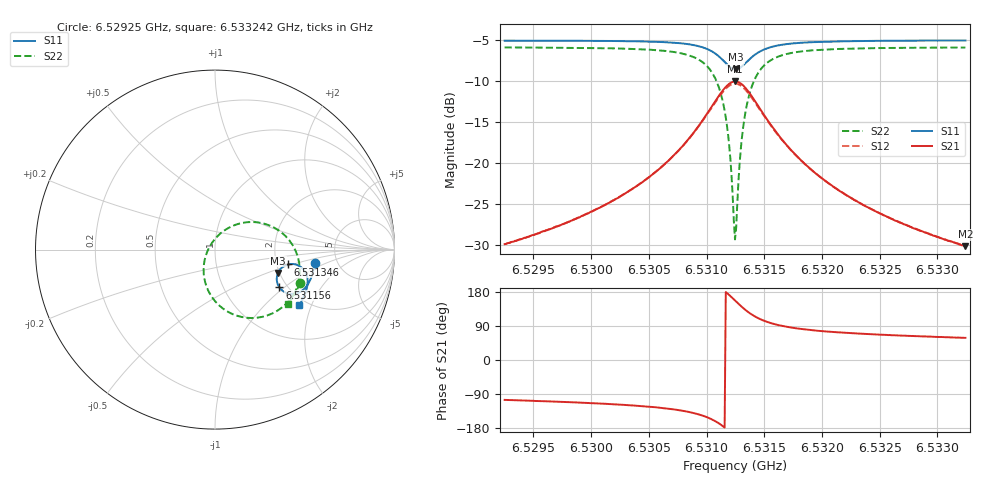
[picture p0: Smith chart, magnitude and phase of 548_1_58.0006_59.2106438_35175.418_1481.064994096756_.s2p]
#  HZ  S  RI  R  50.00
! Rohde & Schwarz Vector Network Analyzer
! Rohde-Schwarz,ZNB20-2Port,1311601062101988,3.16
! Created: UTC 3/21/2024, 1:14:52 AM
! freq[Hz]  re:S11  im:S11  re:S21  im:S21  re:S12  im:S12  re:S22  im:S22
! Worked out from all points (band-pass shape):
!   401 points, 6.52925 GHz to 6.533242 GHz, reference 50 ohm
!   highest |S21| = -10.01 dB at 6.531246 GHz (marker M1); lowest = -30.1 dB at 6.533242 GHz (marker M2)
!   |S21| within 3 dB of the highest: 6.531048 GHz to 6.531447 GHz (399.2 kHz wide, 0.00611 % of centre)
!   lowest |S11| = -8.5 dB at 6.531256 GHz (marker M3), VSWR 2.20, Z = 98.2 - j29.6 ohm
!   |S11| at or under -10 dB: nowhere
!   |S22| runs from -29.3 to -5.9 dB; largest |S21 - S12| = 0.013
!   S11 on the Smith chart (normalised r, x): 6.52925 GHz: 3.37, -0.75; 6.531156 GHz: 1.82, -0.93; 6.531346 GHz: 2.30, -0.46; 6.533242 GHz: 1.82, -1.64
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6.5292499e9  0.5555 -0.0767  -0.00844 -0.0309  -0.00905 -0.0307  0.4752 -0.1843
6.5299186e9  0.5437 -0.1325  -0.0184 -0.044  -0.0194 -0.0434  0.4426 -0.2462
6.5302779e9  0.5319 -0.1661  -0.0305 -0.0566  -0.032 -0.0558  0.4105 -0.2878
6.5305873e9  0.5136 -0.1996  -0.0537 -0.0747  -0.0558 -0.0732  0.3581 -0.3336
6.5308168e9  0.4854 -0.2288  -0.0948 -0.0937  -0.0976 -0.0905  0.2752 -0.3718
6.5309865e9  0.4402 -0.2468  -0.1648 -0.099  -0.167 -0.0922  0.1468 -0.3749
6.5310863e9  0.3942 -0.24  -0.2357 -0.0704  -0.2344 -0.0604  0.0281 -0.3152
6.5311561e9  0.3589 -0.2107  -0.2871 -0.00924  -0.2807 0.000755  -0.0478 -0.204
6.531196e9  0.3462 -0.1815  -0.3025 0.0453  -0.2929 0.0532  -0.0635 -0.1109
6.531226e9  0.3446 -0.1556  -0.3002 0.092  -0.2891 0.0972  -0.0518 -0.0354
6.531236e9  0.3458 -0.1468  -0.2964 0.1076  -0.285 0.1118  -0.043 -0.0106
6.531246e9  0.3479 -0.1382  -0.2911 0.1227  -0.2794 0.1258  -0.0316 0.0132
6.5312559e9  0.3511 -0.1298  -0.2841 0.1372  -0.2726 0.1394  -0.018 0.0358
6.5313058e9  0.378 -0.0962  -0.2325 0.1949  -0.2229 0.1928  0.0761 0.1213
6.5313458e9  0.4063 -0.0827  -0.1817 0.2178  -0.1748 0.2142  0.1634 0.1506
6.5314156e9  0.4509 -0.0834  -0.1038 0.2183  -0.1004 0.2149  0.2935 0.1381
6.5315154e9  0.4895 -0.1067  -0.0376 0.1851  -0.036 0.1832  0.4004 0.0673
6.5316651e9  0.5112 -0.1441  0.0017 0.1362  0.00279 0.1354  0.4582 -0.0308
6.5319146e9  0.5159 -0.188  0.0179 0.0886  0.0188 0.0883  0.4719 -0.1301
6.532214e9  0.5092 -0.2241  0.0201 0.0603  0.0211 0.06  0.4608 -0.1959
6.5325833e9  0.4968 -0.2583  0.0189 0.0424  0.0198 0.042  0.4421 -0.2463
6.533242e9  0.4706 -0.308  0.0163 0.0265  0.0169 0.0263  0.4074 -0.3055
